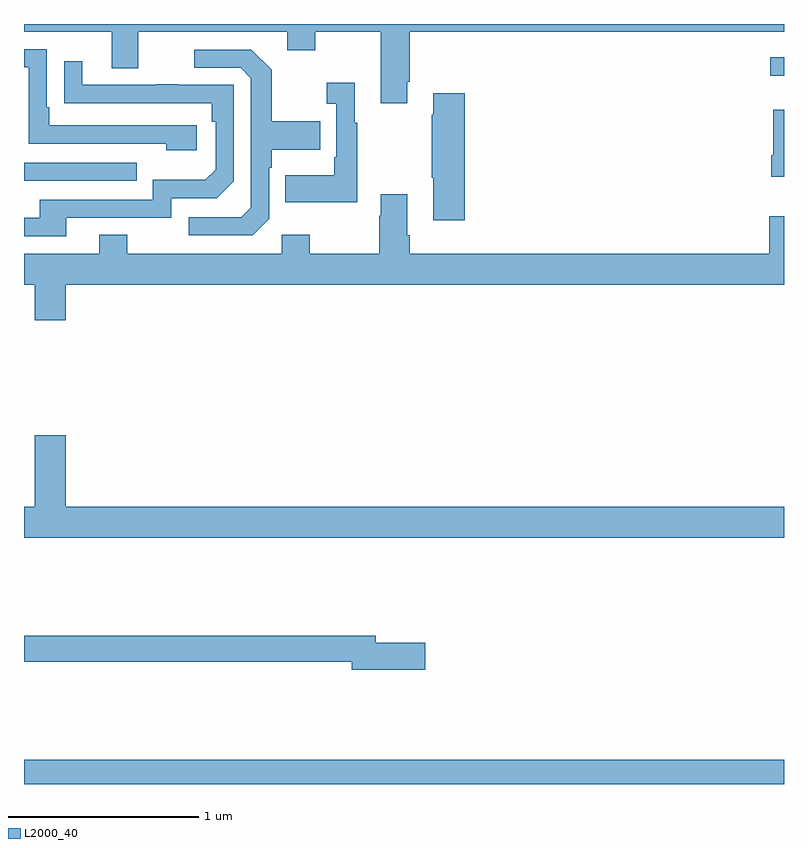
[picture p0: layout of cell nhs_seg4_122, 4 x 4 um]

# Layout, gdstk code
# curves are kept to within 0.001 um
import gdstk
lib = gdstk.Library(unit=1e-6, precision=1e-09)
def R(c, l, rs):  # rectangles x0, y0, x1, y1
    for r in rs: c.add(gdstk.rectangle(r[:2], r[2:], *l))
def P(c, l, *ps):  # polygons
    for p in ps: c.add(gdstk.Polygon(p, *l))
L2000_40 = (2000, 40)

nhs_seg4_122 = lib.new_cell('nhs_seg4_122')
R(nhs_seg4_122, L2000_40, [(117,752.9,121,753.028), (117,756.075,117.593,756.171), (120.927,756.627,121,756.724)])
P(nhs_seg4_122, L2000_40, [(119.017,756.595),(119.03,756.595),(119.03,756.86),(121,756.86),(121,756.9),(117,756.9),(117,756.86),(117.461,756.86),(117.461,756.666),(117.601,756.666),(117.601,756.86),(118.385,756.86),(118.385,756.761),(118.533,756.761),(118.533,756.86),(118.877,756.86),(118.877,756.483),(119.017,756.483)],
  [(117.91,756.366),(117.133,756.366),(117.133,756.463),(117.12,756.463),(117.12,756.768),(117,756.768),(117,756.672),(117.024,756.672),(117.024,756.27),(117.749,756.27),(117.749,756.236),(117.91,756.236)],
  [(118.29,755.874),(118.29,756.143),(118.303,756.143),(118.303,756.239),(118.559,756.239),(118.559,756.387),(118.303,756.387),(118.303,756.659),(118.197,756.765),(117.897,756.765),(117.897,756.669),(118.14,756.669),(118.194,756.615),(118.194,755.934),(118.143,755.883),(117.867,755.883),(117.867,755.787),(118.203,755.787)],
  [(117.223,755.88),(117.774,755.88),(117.774,755.982),(118.014,755.982),(118.104,756.072),(118.104,756.579),(117.809,756.579),(117.809,756.584),(117.697,756.584),(117.697,756.579),(117.307,756.579),(117.307,756.703),(117.211,756.703),(117.211,756.484),(117.988,756.483),(117.988,756.386),(118.008,756.386),(118.008,756.132),(117.955,756.079),(117.678,756.079),(117.678,755.976),(117.083,755.976),(117.083,755.88),(117,755.88),(117,755.784),(117.223,755.784)],
  [(118.753,756.379),(118.741,756.379),(118.741,756.592),(118.593,756.592),(118.593,756.479),(118.644,756.479),(118.644,756.199),(118.632,756.199),(118.632,756.103),(118.375,756.103),(118.375,755.963),(118.753,755.963)],
  [(119.321,756.535),(119.153,756.535),(119.153,756.422),(119.146,756.422),(119.146,756.091),(119.153,756.091),(119.153,755.868),(119.321,755.868)],
  [(121,756.448),(120.944,756.448),(120.944,756.208),(120.932,756.208),(120.932,756.096),(121,756.096)],
  [(117.22,755.528),(121,755.528),(121,755.887),(120.923,755.887),(120.923,755.692),(119.03,755.692),(119.03,755.788),(119.017,755.788),(119.017,756.004),(118.877,756.004),(118.877,755.891),(118.87,755.891),(118.87,755.692),(118.503,755.692),(118.503,755.791),(118.356,755.791),(118.356,755.692),(117.543,755.692),(117.543,755.791),(117.395,755.791),(117.395,755.692),(117,755.692),(117,755.528),(117.056,755.528),(117.056,755.34),(117.22,755.34)],
  [(121,754.36),(117.22,754.36),(117.22,754.735),(117.056,754.735),(117.056,754.36),(117,754.36),(117,754.196),(121,754.196)],
  [(119.113,753.644),(118.852,753.644),(118.852,753.68),(117,753.68),(117,753.544),(118.724,753.544),(118.724,753.502),(119.113,753.502)])

lib.write_gds('nhs_seg4_122.gds')
